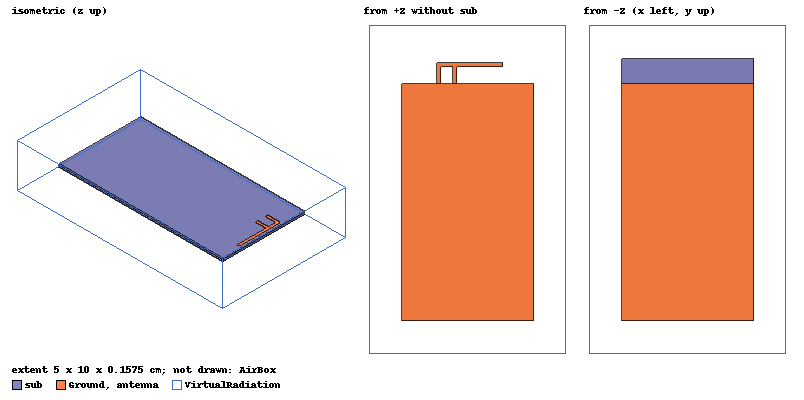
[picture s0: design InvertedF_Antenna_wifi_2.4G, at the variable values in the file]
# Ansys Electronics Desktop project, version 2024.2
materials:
  vacuum: permittivity=1
  my_mat_ADK: permittivity=2.2 dielectric_loss_tangent=0.0009
  pec: conductivity=1e+30
  air: permittivity=1.0006 permeability=1.0000004

design InvertedF_Antenna_wifi_2.4G (HFSS, HFSS Hybrid Terminal Network, model units cm)
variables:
  # --Antenna Dimensions
  Length1 = 2.49cm
  Length2 = 0.8cm
  Antenna_Trace_Width = 0.15cm
  Antenna_Offset = 0.45cm
  # --Feed
  Feed_Offset = -0.5cm
  Feed_Length = 0.01cm
  Feed_Width = 0.15cm
  # --Substrate Dimensions
  subH = 62mil
  subX = 5cm
  subY = 10cm
  # --Air Box
  Airbox_dist = 4.1638cm
  # --Virtual Object Radiation Surface
  VirtualObject_dist = 1.2491cm
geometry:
  sub [my_mat_ADK] = box(corner=(-subX/2, -subY+Length2+Antenna_Trace_Width, 0cm), size=(subX, subY, -subH))
  Ground [pec] = rectangle(corner=(-subX/2, -subY+Length2+Antenna_Trace_Width, -subH), x_size=subX, y_size=subY-(Length2+Antenna_Trace_Width))
  antenna_feed = rectangle(corner=(-Antenna_Trace_Width/2+Feed_Offset, 0cm, 0cm), x_size=Antenna_Trace_Width, y_size=Length2)
  antenna_short = rectangle(corner=(-Antenna_Trace_Width/2-Antenna_Offset+Feed_Offset, 0cm, 0cm), x_size=-Antenna_Trace_Width, y_size=Length2)
  antenna_short2 = rectangle(corner=(-Antenna_Trace_Width/2-Antenna_Offset+Feed_Offset, 0cm, 0cm), z_size=-subH, x_size=-Antenna_Trace_Width)
  antenna [pec] = rectangle(corner=(-Antenna_Trace_Width/2-Antenna_Offset-Antenna_Trace_Width+Feed_Offset, Length2, 0cm), x_size=Length1, y_size=-Antenna_Trace_Width)
  antenna.unite(antenna_short, antenna_feed, antenna_short2)
  microstrip_feed [pec] = rectangle(corner=(-Feed_Width/2+Feed_Offset, 0cm, 0cm), x_size=Feed_Width, y_size=-Feed_Length)
  port1 [pec] = rectangle(corner=(-Antenna_Trace_Width/2+Feed_Offset, -Feed_Length, 0cm), z_size=-subH, x_size=Feed_Width)
  AirBox [air] = box(corner=((-subX/2) - Airbox_dist, (-(subY-(Length2+Antenna_Trace_Width))) - Airbox_dist, (-subH) - Airbox_dist), size=(abs((-subX/2)-(subX/2)) + 2*Airbox_dist, abs((-(subY-(Length2+Antenna_Trace_Width)))-(Length2+Antenna_Trace_Width)) + 2*Airbox_dist, abs((-subH)-0) + 2*Airbox_dist))
  VirtualRadiation [air] = box(corner=((-subX/2) - VirtualObject_dist, (-(subY-(Length2+Antenna_Trace_Width))) - VirtualObject_dist, (-subH) - VirtualObject_dist), size=(abs((-subX/2)-(subX/2)) + 2*VirtualObject_dist, abs((-(subY-(Length2+Antenna_Trace_Width)))-(Length2+Antenna_Trace_Width)) + 2*VirtualObject_dist, abs((-subH)-0) + 2*VirtualObject_dist))
  list radFaces = VirtualRadiation.face(all 6)
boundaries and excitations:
  Ground: Perfect E Objects=Ground
  antenna: Perfect E Objects=antenna
  microstrip_feed: Perfect E Objects=microstrip_feed
  Rad: Radiation Objects=AirBox
  microstrip_feed_T1: Terminal port=p1 Edges=microstrip_feed.edge(at (-0.5, -0.01, 0)) TerminalResistance=50ohm
  p1: Lumped Port Faces=port1.face LumpedPortType=Terminal Impedance=50ohm
  reference conductors: Ground
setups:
  Setup1: HfssDriven Frequency=2.4GHz MaxDeltaS=0.02 MaximumPasses=6 MinimumPasses=1 MinimumConvergedPasses=1 PercentRefinement=30 BasisOrder=1 PortAccuracy=2 DrivenSolverType="Direct Solver"
    sweep Sweep: 0Hz to 1Hz, 1 points; 1Hz to 100MHz, log, 20 per decade; 100MHz to 1GHz step 10MHz; 1GHz to 5GHz step 10MHz; Type=Interpolating SaveFields SaveRadFields InterpTolerance=0.5 InterpMaxSolns=250 MinSolvedFreq=0.01GHz PassivityErrorTolerance=0.0001
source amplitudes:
  p1:1: 1V 0deg
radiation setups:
  infSphere: Infinite Sphere Theta=-180deg..180deg step 2deg Phi=0deg..180deg step 5deg CustomRadiationSurface=radFaces
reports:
  Terminal S Parameter Plot 1: dB(St(microstrip_feed_T1,microstrip_feed_T1)) vs Freq on Setup1 : Sweep
  Terminal S Parameter Plot 2: dB(St(microstrip_feed_T1,microstrip_feed_T1)) vs Freq on Setup1 : Sweep
  ff_3D_GainTotal: dB(GainTotal) vs Phi, Theta on Setup1 : LastAdaptive, infSphere
  ff_2D_GainTotal: dB(GainTotal) vs Theta on Setup1 : LastAdaptive, infSphere [Phi=0deg]; dB(GainTotal) vs Theta on Setup1 : LastAdaptive, infSphere [Phi=90deg]
